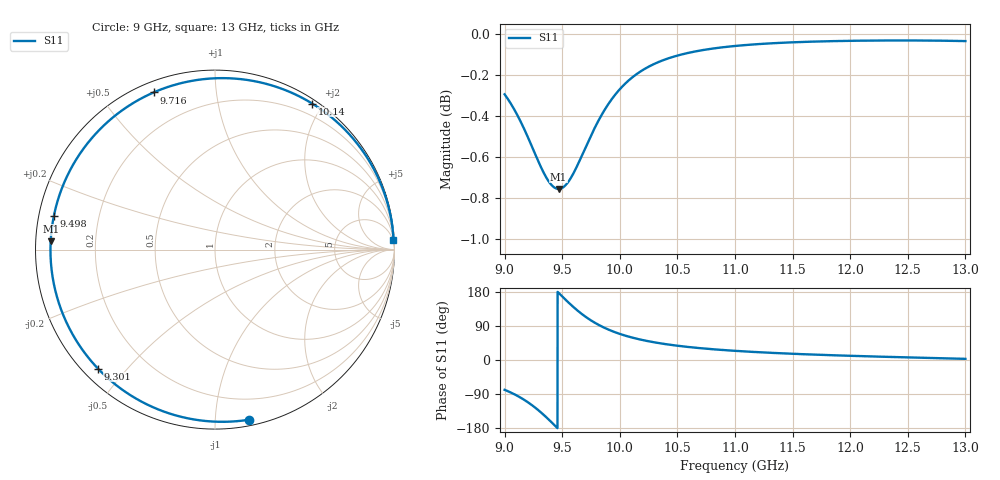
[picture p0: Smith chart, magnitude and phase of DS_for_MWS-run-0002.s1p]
! TOUCHSTONE file generated by CST DESIGN STUDIO
! Date and time: Tue Feb  4 18:20:13 2025
! Project name: C:\Work\MatlabApps\UnitCellOptimizationMatlab\CST\unitcell.cst
! Tree item: Tasks\Sweep1\SPara1\S-Parameters
! Header version: 2024
! Port assignment regex: !\s*Touchstone port\s*([0-9]+)\s*=\s*(CST MWS port|CST DES external port|CST DES block port)\s*(.+)\s* \(\"(.*)\"\)(\s*mode\s*([0-9]+))?.*
! Touchstone port assignment:
! Touchstone port 1 = CST DES external port 1 ("")
# GHz S MA R 50
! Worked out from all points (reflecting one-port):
!   4001 points, 9 GHz to 13 GHz, reference 50 ohm
!   lowest |S11| = -0.8 dB at 9.469 GHz (marker M1), VSWR 23.02, Z = 2.17 + j1.27 ohm
!   phase of S11 starts at -79 deg and turns -278 deg over the sweep
!   S11 on the Smith chart (normalised r, x): 9 GHz: 0.04, -1.22; 9.301 GHz: 0.04, -0.42; 9.498 GHz: 0.04, +0.10; 9.716 GHz: 0.05, +0.68; 10.14 GHz: 0.05, +1.87; 13 GHz: 3, +37
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9  0.9666 -78.7
9.073  0.9596 -88.6
9.17  0.948 -105.1
9.238  0.9386 -119.3
9.301  0.9299 -134.5
9.345  0.9244 -146.3
9.391  0.9199 -159.5
9.431  0.9175 -171.4
9.469  0.9167 177.1
9.498  0.9172 168.3
9.5  0.9172 167.7
9.552  0.9203 152.4
9.611  0.9263 136.1
9.663  0.9329 123.1
9.716  0.94 111.3
9.772  0.9473 100.3
9.835  0.9547 89.7
9.916  0.9627 78.4
10  0.9693 68.9
10.145  0.9775 56.3
10.306  0.9834 46.3
10.5  0.9878 37.7
10.722  0.9908 30.6
11  0.9931 24.2
11.5  0.9951 16.4
12  0.996 11.1
12.5  0.9962 6.8
13  0.9958 3.1
